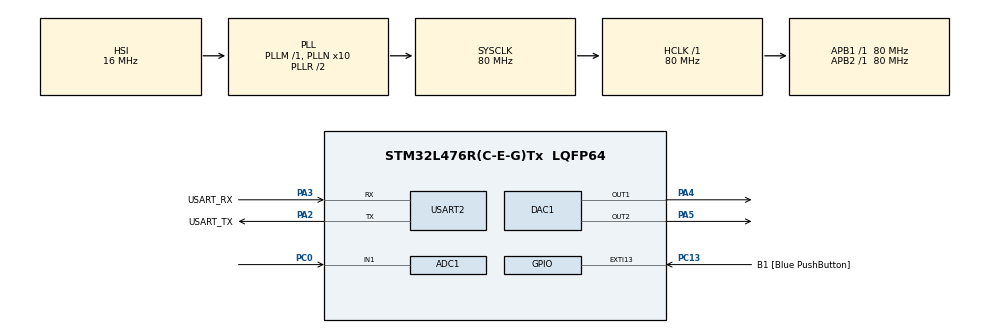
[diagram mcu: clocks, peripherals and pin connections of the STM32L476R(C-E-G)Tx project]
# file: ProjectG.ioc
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ADC1.Channel-0\#ChannelRegularConversion=ADC_CHANNEL_1
ADC1.ClockPrescaler=ADC_CLOCK_ASYNC_DIV1
ADC1.ContinuousConvMode=DISABLE
ADC1.DMAContinuousRequests=DISABLE
ADC1.ExternalTrigConv=ADC_SOFTWARE_START
ADC1.NbrOfConversionFlag=1
ADC1.OffsetNumber-0\#ChannelRegularConversion=ADC_OFFSET_NONE
ADC1.Rank-0\#ChannelRegularConversion=1
ADC1.Resolution=ADC_RESOLUTION_12B
ADC1.SamplingTime-0\#ChannelRegularConversion=ADC_SAMPLETIME_2CYCLES_5
ADC1.master=1
DAC1.DAC_Channel-DAC_OUT2=DAC_CHANNEL_2
DAC1.DAC_Trigger-DAC_OUT1=DAC_TRIGGER_T2_TRGO
DAC1.DAC_Trigger-DAC_OUT2=DAC_TRIGGER_T4_TRGO
Dma.DAC_CH1.0.Direction=DMA_MEMORY_TO_PERIPH
Dma.DAC_CH1.0.Instance=DMA1_Channel3
Dma.DAC_CH1.0.MemDataAlignment=DMA_MDATAALIGN_HALFWORD
Dma.DAC_CH1.0.MemInc=DMA_MINC_ENABLE
Dma.DAC_CH1.0.Mode=DMA_CIRCULAR
Dma.DAC_CH1.0.PeriphDataAlignment=DMA_PDATAALIGN_HALFWORD
Dma.DAC_CH1.0.PeriphInc=DMA_PINC_DISABLE
Dma.DAC_CH1.0.Priority=DMA_PRIORITY_LOW
Dma.DAC_CH2.1.Direction=DMA_MEMORY_TO_PERIPH
Dma.DAC_CH2.1.Instance=DMA1_Channel4
Dma.DAC_CH2.1.MemDataAlignment=DMA_MDATAALIGN_HALFWORD
Dma.DAC_CH2.1.MemInc=DMA_MINC_ENABLE
Dma.DAC_CH2.1.Mode=DMA_CIRCULAR
Dma.DAC_CH2.1.PeriphDataAlignment=DMA_PDATAALIGN_HALFWORD
Dma.DAC_CH2.1.PeriphInc=DMA_PINC_DISABLE
Dma.DAC_CH2.1.Priority=DMA_PRIORITY_LOW
Dma.Request0=DAC_CH1
Dma.Request1=DAC_CH2
Dma.Request2=USART2_RX
Dma.USART2_RX.2.Direction=DMA_PERIPH_TO_MEMORY
Dma.USART2_RX.2.Instance=DMA1_Channel6
Dma.USART2_RX.2.MemDataAlignment=DMA_MDATAALIGN_BYTE
Dma.USART2_RX.2.MemInc=DMA_MINC_ENABLE
Dma.USART2_RX.2.Mode=DMA_CIRCULAR
Dma.USART2_RX.2.PeriphDataAlignment=DMA_PDATAALIGN_BYTE
Dma.USART2_RX.2.PeriphInc=DMA_PINC_DISABLE
Dma.USART2_RX.2.Priority=DMA_PRIORITY_LOW
FREERTOS.INCLUDE_eTaskGetState=1
FREERTOS.INCLUDE_vTaskDelayUntil=1
FREERTOS.INCLUDE_xTaskGetHandle=1
FREERTOS.Tasks01=defaultTask,0,128,StartDefaultTask,Default,NULL,Dynamic,NULL,NULL
FREERTOS.configTOTAL_HEAP_SIZE=20000
FREERTOS.configUSE_NEWLIB_REENTRANT=1
Mcu.Family=STM32L4
Mcu.Name=STM32L476R(C-E-G)Tx
Mcu.Package=LQFP64
NVIC.ADC1_2_IRQn=true\:5\:0\:false\:false\:true\:true\:true\:true\:true
NVIC.DMA1_Channel3_IRQn=true\:5\:0\:false\:false\:true\:true\:false\:true\:true
NVIC.DMA1_Channel4_IRQn=true\:5\:0\:false\:false\:true\:true\:false\:true\:true
NVIC.DMA1_Channel6_IRQn=true\:5\:0\:false\:false\:true\:true\:false\:true\:true
NVIC.PriorityGroup=NVIC_PRIORITYGROUP_4
NVIC.TIM1_UP_TIM16_IRQn=true\:15\:0\:false\:false\:true\:false\:false\:true\:true
NVIC.TIM6_DAC_IRQn=true\:5\:0\:false\:false\:true\:true\:true\:true\:true
NVIC.TimeBase=TIM1_UP_TIM16_IRQn
NVIC.TimeBaseIP=TIM1
PA13\ (JTMS-SWDIO).GPIO_Label=TMS
PA13\ (JTMS-SWDIO).Mode=Serial_Wire
PA13\ (JTMS-SWDIO).Signal=SYS_JTMS-SWDIO
PA14\ (JTCK-SWCLK).GPIO_Label=TCK
PA14\ (JTCK-SWCLK).Mode=Serial_Wire
PA14\ (JTCK-SWCLK).Signal=SYS_JTCK-SWCLK
PA2.GPIO_Label=USART_TX
PA2.GPIO_Mode=GPIO_MODE_AF_PP
PA2.GPIO_PuPd=GPIO_NOPULL
PA2.GPIO_Speed=GPIO_SPEED_FREQ_VERY_HIGH
PA2.Mode=Asynchronous
PA2.Signal=USART2_TX
PA3.GPIO_Label=USART_RX
PA3.GPIO_Mode=GPIO_MODE_AF_PP
PA3.GPIO_PuPd=GPIO_NOPULL
PA3.GPIO_Speed=GPIO_SPEED_FREQ_VERY_HIGH
PA3.Mode=Asynchronous
PA3.Signal=USART2_RX
PA4.Signal=COMP_DAC11_group
PA5.Signal=COMP_DAC12_group
PB3\ (JTDO-TRACESWO).GPIO_Label=SWO
PB3\ (JTDO-TRACESWO).Signal=SYS_JTDO-SWO
PC0.Signal=ADCx_IN1
PC13.GPIO_Label=B1 [Blue PushButton]
PC13.GPIO_ModeDefaultEXTI=GPIO_MODE_IT_FALLING
PC13.GPIO_PuPd=GPIO_NOPULL
PC13.Signal=GPXTI13
PC14-OSC32_IN\ (PC14).Mode=LSE-External-Oscillator
PC14-OSC32_IN\ (PC14).Signal=RCC_OSC32_IN
PC15-OSC32_OUT\ (PC15).Mode=LSE-External-Oscillator
PC15-OSC32_OUT\ (PC15).Signal=RCC_OSC32_OUT
PH0-OSC_IN\ (PH0).Signal=RCC_OSC_IN
PH1-OSC_OUT\ (PH1).Signal=RCC_OSC_OUT
ProjectManager.HeapSize=0x200
ProjectManager.StackSize=0x400
ProjectManager.TargetToolchain=STM32CubeIDE
RCC.ADCFreq_Value=64000000
RCC.AHBFreq_Value=80000000
RCC.APB1Freq_Value=80000000
RCC.APB1TimFreq_Value=80000000
RCC.APB2Freq_Value=80000000
RCC.APB2TimFreq_Value=80000000
RCC.CortexFreq_Value=80000000
RCC.HCLKFreq_Value=80000000
RCC.HSE_VALUE=8000000
RCC.HSI_VALUE=16000000
RCC.MSI_VALUE=4000000
RCC.PLLN=10
RCC.PLLSourceVirtual=RCC_PLLSOURCE_HSI
RCC.PREFETCH_ENABLE=1
RCC.SYSCLKFreq_VALUE=80000000
RCC.SYSCLKSource=RCC_SYSCLKSOURCE_PLLCLK
RCC.USBFreq_Value=64000000
RCC.VCOOutputFreq_Value=160000000
SH.ADCx_IN1.0=ADC1_IN1,IN1-Single-Ended
SH.COMP_DAC11_group.0=DAC1_OUT1,DAC_OUT1
SH.COMP_DAC12_group.0=DAC1_OUT2,DAC_OUT2
TIM2.AutoReloadPreload=TIM_AUTORELOAD_PRELOAD_ENABLE
TIM2.Period=8000 - 1
TIM2.Prescaler=0
TIM2.TIM_MasterOutputTrigger=TIM_TRGO_UPDATE
TIM4.AutoReloadPreload=TIM_AUTORELOAD_PRELOAD_ENABLE
TIM4.Period=8000 - 1
TIM4.Prescaler=0
TIM4.TIM_MasterOutputTrigger=TIM_TRGO_UPDATE
TIM6.Period=8 - 1
TIM6.Prescaler=1000 - 1
USART2.VirtualMode-Asynchronous=VM_ASYNC
VP_FREERTOS_VS_CMSIS_V1.Mode=CMSIS_V1
VP_SYS_VS_tim1.Mode=TIM1
VP_TIM2_VS_ClockSourceINT.Mode=Internal
VP_TIM4_VS_ClockSourceINT.Mode=Internal
VP_TIM6_VS_ClockSourceINT.Mode=Enable_Timer
board=NUCLEO-L476RG

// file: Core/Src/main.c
/* USER CODE BEGIN Header */
/**
  ******************************************************************************
  * @file           : main.c
  * @brief          : Main program body
  ******************************************************************************
  * @attention
  *
  * Copyright (c) 2022 STMicroelectronics.
  * All rights reserved.
  *
  * This software is licensed under terms that can be found in the LICENSE file
  * in the root directory of this software component.
  * If no LICENSE file comes with this software, it is provided AS-IS.
  *
  ******************************************************************************
  */
/* USER CODE END Header */
#include "main.h"
#include "cmsis_os.h"

/* USER CODE BEGIN Includes */
#include "FreeRTOS.h"
#include "timers.h"
#include "queue.h"
#include "semphr.h"
#include "event_groups.h"
#include "task.h"

#include <stdlib.h>
#include <stdio.h>

#include "globals.h"
#include "uart.h"
#include "dac.h"
/* USER CODE END Includes */

/* USER CODE BEGIN PM */
#define SR 20000
/* USER CODE END PM */

ADC_HandleTypeDef hadc1;

DAC_HandleTypeDef hdac1;
DMA_HandleTypeDef hdma_dac_ch1;
DMA_HandleTypeDef hdma_dac_ch2;

TIM_HandleTypeDef htim2;
TIM_HandleTypeDef htim4;
TIM_HandleTypeDef htim6;

UART_HandleTypeDef huart2;
DMA_HandleTypeDef hdma_usart2_rx;

osThreadId defaultTaskHandle;
/* USER CODE BEGIN PV */
TaskHandle_t rdr;
TaskHandle_t dac;
QueueHandle_t mbx;

int idx = 0;
double sum = 0;
int mindx = 0;
int maxdx = 0;
extern sig_t newSig;
uint16_t RRM[SR] = {0};
/* USER CODE END PV */

void SystemClock_Config(void);
static void MX_GPIO_Init(void);
static void MX_DMA_Init(void);
static void MX_USART2_UART_Init(void);
static void MX_ADC1_Init(void);
static void MX_TIM6_Init(void);
static void MX_DAC1_Init(void);
static void MX_TIM2_Init(void);
static void MX_TIM4_Init(void);
void StartDefaultTask(void const * argument);

int main(void)
{

  /* MCU Configuration--------------------------------------------------------*/

  /* Reset of all peripherals, Initializes the Flash interface and the Systick. */
  HAL_Init();

  /* Configure the system clock */
  SystemClock_Config();

  /* Initialize all configured peripherals */
  MX_GPIO_Init();
  MX_DMA_Init();
  MX_USART2_UART_Init();
  MX_ADC1_Init();
  MX_TIM6_Init();
  MX_DAC1_Init();
  MX_TIM2_Init();
  MX_TIM4_Init();

  /* USER CODE BEGIN RTOS_QUEUES */
  mbx = xQueueCreate(1, sizeof(sig_t));
  if(!mbx)
  {
	  printf("Could not build mailbox\n\r");
	  exit(1);
  }
  /* USER CODE END RTOS_QUEUES */

  /* USER CODE BEGIN RTOS_THREADS */
  xTaskCreate(read_Task, "rdr", 1024, NULL, PriorityHigh, &rdr);
  xTaskCreate(dac_Task, "dac", 512, NULL, PriorityNormal, &dac);
  /* USER CODE END RTOS_THREADS */

  /* We should never get here as control is now taken by the scheduler */
  /* Infinite loop */
  /* USER CODE BEGIN WHILE */
  vTaskStartScheduler();

  while (1)
  {
    /* USER CODE END WHILE */

  }
}

void SystemClock_Config(void)
{
  RCC_OscInitTypeDef RCC_OscInitStruct = {0};
  RCC_ClkInitTypeDef RCC_ClkInitStruct = {0};

  /** Configure the main internal regulator output voltage
  */
  if (HAL_PWREx_ControlVoltageScaling(PWR_REGULATOR_VOLTAGE_SCALE1) != HAL_OK)
  {
    Error_Handler();
  }

  /** Initializes the RCC Oscillators according to the specified parameters
  * in the RCC_OscInitTypeDef structure.
  */
  RCC_OscInitStruct.OscillatorType = RCC_OSCILLATORTYPE_HSI;
  RCC_OscInitStruct.HSIState = RCC_HSI_ON;
  RCC_OscInitStruct.HSICalibrationValue = RCC_HSICALIBRATION_DEFAULT;
  RCC_OscInitStruct.PLL.PLLState = RCC_PLL_ON;
  RCC_OscInitStruct.PLL.PLLSource = RCC_PLLSOURCE_HSI;
  RCC_OscInitStruct.PLL.PLLM = 1;
  RCC_OscInitStruct.PLL.PLLN = 10;
  RCC_OscInitStruct.PLL.PLLP = RCC_PLLP_DIV7;
  RCC_OscInitStruct.PLL.PLLQ = RCC_PLLQ_DIV2;
  RCC_OscInitStruct.PLL.PLLR = RCC_PLLR_DIV2;
  if (HAL_RCC_OscConfig(&RCC_OscInitStruct) != HAL_OK)
  {
    Error_Handler();
  }

  /** Initializes the CPU, AHB and APB buses clocks
  */
  RCC_ClkInitStruct.ClockType = RCC_CLOCKTYPE_HCLK|RCC_CLOCKTYPE_SYSCLK
                              |RCC_CLOCKTYPE_PCLK1|RCC_CLOCKTYPE_PCLK2;
  RCC_ClkInitStruct.SYSCLKSource = RCC_SYSCLKSOURCE_PLLCLK;
  RCC_ClkInitStruct.AHBCLKDivider = RCC_SYSCLK_DIV1;
  RCC_ClkInitStruct.APB1CLKDivider = RCC_HCLK_DIV1;
  RCC_ClkInitStruct.APB2CLKDivider = RCC_HCLK_DIV1;

  if (HAL_RCC_ClockConfig(&RCC_ClkInitStruct, FLASH_LATENCY_4) != HAL_OK)
  {
    Error_Handler();
  }
}

static void MX_ADC1_Init(void)
{

  ADC_MultiModeTypeDef multimode = {0};
  ADC_ChannelConfTypeDef sConfig = {0};

  /** Common config
  */
  hadc1.Instance = ADC1;
  hadc1.Init.ClockPrescaler = ADC_CLOCK_ASYNC_DIV1;
  hadc1.Init.Resolution = ADC_RESOLUTION_12B;
  hadc1.Init.DataAlign = ADC_DATAALIGN_RIGHT;
  hadc1.Init.ScanConvMode = ADC_SCAN_DISABLE;
  hadc1.Init.EOCSelection = ADC_EOC_SINGLE_CONV;
  hadc1.Init.LowPowerAutoWait = DISABLE;
  hadc1.Init.ContinuousConvMode = DISABLE;
  hadc1.Init.NbrOfConversion = 1;
  hadc1.Init.DiscontinuousConvMode = DISABLE;
  hadc1.Init.ExternalTrigConv = ADC_SOFTWARE_START;
  hadc1.Init.ExternalTrigConvEdge = ADC_EXTERNALTRIGCONVEDGE_NONE;
  hadc1.Init.DMAContinuousRequests = DISABLE;
  hadc1.Init.Overrun = ADC_OVR_DATA_PRESERVED;
  hadc1.Init.OversamplingMode = DISABLE;
  if (HAL_ADC_Init(&hadc1) != HAL_OK)
  {
    Error_Handler();
  }

  /** Configure the ADC multi-mode
  */
  multimode.Mode = ADC_MODE_INDEPENDENT;
  if (HAL_ADCEx_MultiModeConfigChannel(&hadc1, &multimode) != HAL_OK)
  {
    Error_Handler();
  }

  /** Configure Regular Channel
  */
  sConfig.Channel = ADC_CHANNEL_1;
  sConfig.Rank = ADC_REGULAR_RANK_1;
  sConfig.SamplingTime = ADC_SAMPLETIME_2CYCLES_5;
  sConfig.SingleDiff = ADC_SINGLE_ENDED;
  sConfig.OffsetNumber = ADC_OFFSET_NONE;
  sConfig.Offset = 0;
  if (HAL_ADC_ConfigChannel(&hadc1, &sConfig) != HAL_OK)
  {
    Error_Handler();
  }

}

static void MX_DAC1_Init(void)
{

  DAC_ChannelConfTypeDef sConfig = {0};

  /** DAC Initialization
  */
  hdac1.Instance = DAC1;
  if (HAL_DAC_Init(&hdac1) != HAL_OK)
  {
    Error_Handler();
  }

  /** DAC channel OUT1 config
  */
  sConfig.DAC_SampleAndHold = DAC_SAMPLEANDHOLD_DISABLE;
  sConfig.DAC_Trigger = DAC_TRIGGER_T2_TRGO;
  sConfig.DAC_OutputBuffer = DAC_OUTPUTBUFFER_ENABLE;
  sConfig.DAC_ConnectOnChipPeripheral = DAC_CHIPCONNECT_DISABLE;
  sConfig.DAC_UserTrimming = DAC_TRIMMING_FACTORY;
  if (HAL_DAC_ConfigChannel(&hdac1, &sConfig, DAC_CHANNEL_1) != HAL_OK)
  {
    Error_Handler();
  }

  /** DAC channel OUT2 config
  */
  sConfig.DAC_Trigger = DAC_TRIGGER_T4_TRGO;
  if (HAL_DAC_ConfigChannel(&hdac1, &sConfig, DAC_CHANNEL_2) != HAL_OK)
  {
    Error_Handler();
  }

}

static void MX_TIM2_Init(void)
{

  TIM_ClockConfigTypeDef sClockSourceConfig = {0};
  TIM_MasterConfigTypeDef sMasterConfig = {0};

  htim2.Instance = TIM2;
  htim2.Init.Prescaler = 1000 - 1;
  htim2.Init.CounterMode = TIM_COUNTERMODE_UP;
  htim2.Init.Period = 8 - 1;
  htim2.Init.ClockDivision = TIM_CLOCKDIVISION_DIV1;
  htim2.Init.AutoReloadPreload = TIM_AUTORELOAD_PRELOAD_ENABLE;
  if (HAL_TIM_Base_Init(&htim2) != HAL_OK)
  {
    Error_Handler();
  }
  sClockSourceConfig.ClockSource = TIM_CLOCKSOURCE_INTERNAL;
  if (HAL_TIM_ConfigClockSource(&htim2, &sClockSourceConfig) != HAL_OK)
  {
    Error_Handler();
  }
  sMasterConfig.MasterOutputTrigger = TIM_TRGO_UPDATE;
  sMasterConfig.MasterSlaveMode = TIM_MASTERSLAVEMODE_DISABLE;
  if (HAL_TIMEx_MasterConfigSynchronization(&htim2, &sMasterConfig) != HAL_OK)
  {
    Error_Handler();
  }

}

static void MX_TIM4_Init(void)
{

  TIM_ClockConfigTypeDef sClockSourceConfig = {0};
  TIM_MasterConfigTypeDef sMasterConfig = {0};

  htim4.Instance = TIM4;
  htim4.Init.Prescaler = 1000 - 1;
  htim4.Init.CounterMode = TIM_COUNTERMODE_UP;
  htim4.Init.Period = 8 - 1;
  htim4.Init.ClockDivision = TIM_CLOCKDIVISION_DIV1;
  htim4.Init.AutoReloadPreload = TIM_AUTORELOAD_PRELOAD_ENABLE;
  if (HAL_TIM_Base_Init(&htim4) != HAL_OK)
  {
    Error_Handler();
  }
  sClockSourceConfig.ClockSource = TIM_CLOCKSOURCE_INTERNAL;
  if (HAL_TIM_ConfigClockSource(&htim4, &sClockSourceConfig) != HAL_OK)
  {
    Error_Handler();
  }
  sMasterConfig.MasterOutputTrigger = TIM_TRGO_UPDATE;
  sMasterConfig.MasterSlaveMode = TIM_MASTERSLAVEMODE_DISABLE;
  if (HAL_TIMEx_MasterConfigSynchronization(&htim4, &sMasterConfig) != HAL_OK)
  {
    Error_Handler();
  }

}

static void MX_TIM6_Init(void)
{

  TIM_MasterConfigTypeDef sMasterConfig = {0};

  htim6.Instance = TIM6;
  htim6.Init.Prescaler = 1000 - 1;
  htim6.Init.CounterMode = TIM_COUNTERMODE_UP;
  htim6.Init.Period = 8 - 1;
  htim6.Init.AutoReloadPreload = TIM_AUTORELOAD_PRELOAD_DISABLE;
  if (HAL_TIM_Base_Init(&htim6) != HAL_OK)
  {
    Error_Handler();
  }
  sMasterConfig.MasterOutputTrigger = TIM_TRGO_RESET;
  sMasterConfig.MasterSlaveMode = TIM_MASTERSLAVEMODE_DISABLE;
  if (HAL_TIMEx_MasterConfigSynchronization(&htim6, &sMasterConfig) != HAL_OK)
  {
    Error_Handler();
  }

}

static void MX_USART2_UART_Init(void)
{

  huart2.Instance = USART2;
  huart2.Init.BaudRate = 115200;
  huart2.Init.WordLength = UART_WORDLENGTH_8B;
  huart2.Init.StopBits = UART_STOPBITS_1;
  huart2.Init.Parity = UART_PARITY_NONE;
  huart2.Init.Mode = UART_MODE_TX_RX;
  huart2.Init.HwFlowCtl = UART_HWCONTROL_NONE;
  huart2.Init.OverSampling = UART_OVERSAMPLING_16;
  huart2.Init.OneBitSampling = UART_ONE_BIT_SAMPLE_DISABLE;
  huart2.AdvancedInit.AdvFeatureInit = UART_ADVFEATURE_NO_INIT;
  if (HAL_UART_Init(&huart2) != HAL_OK)
  {
    Error_Handler();
  }

}

static void MX_DMA_Init(void)
{

  /* DMA controller clock enable */
  __HAL_RCC_DMA1_CLK_ENABLE();

  /* DMA interrupt init */
  /* DMA1_Channel3_IRQn interrupt configuration */
  HAL_NVIC_SetPriority(DMA1_Channel3_IRQn, 5, 0);
  HAL_NVIC_EnableIRQ(DMA1_Channel3_IRQn);
  /* DMA1_Channel4_IRQn interrupt configuration */
  HAL_NVIC_SetPriority(DMA1_Channel4_IRQn, 5, 0);
  HAL_NVIC_EnableIRQ(DMA1_Channel4_IRQn);
  /* DMA1_Channel6_IRQn interrupt configuration */
  HAL_NVIC_SetPriority(DMA1_Channel6_IRQn, 5, 0);
  HAL_NVIC_EnableIRQ(DMA1_Channel6_IRQn);

}

static void MX_GPIO_Init(void)
{
  GPIO_InitTypeDef GPIO_InitStruct = {0};

  /* GPIO Ports Clock Enable */
  __HAL_RCC_GPIOC_CLK_ENABLE();
  __HAL_RCC_GPIOH_CLK_ENABLE();
  __HAL_RCC_GPIOA_CLK_ENABLE();
  __HAL_RCC_GPIOB_CLK_ENABLE();

  /*Configure GPIO pin : B1_Pin */
  GPIO_InitStruct.Pin = B1_Pin;
  GPIO_InitStruct.Mode = GPIO_MODE_IT_FALLING;
  GPIO_InitStruct.Pull = GPIO_NOPULL;
  HAL_GPIO_Init(B1_GPIO_Port, &GPIO_InitStruct);

}

void StartDefaultTask(void const * argument)
{
  for(;;)
  {
    osDelay(1);
  }
}

void HAL_TIM_PeriodElapsedCallback(TIM_HandleTypeDef *htim)
{
  if (htim->Instance == TIM1) {
    HAL_IncTick();
  }
  /* USER CODE BEGIN Callback 1 */
  if(htim->Instance == TIM6)
  {
	  if(!full)
	  {
		  HAL_ADC_Start(&hadc1);
		  HAL_ADC_PollForConversion(&hadc1, 1);
		  RRM[idx] = HAL_ADC_GetValue(&hadc1);
		  sum += RRM[idx];
		  if(newSig.min > RRM[idx])
		  {
			  newSig.min = RRM[idx];
			  mindx = idx;
		  }
		  if(newSig.max < RRM[idx])
		  {
			  newSig.max = RRM[idx];
			  maxdx = idx;
		  }
		  idx++;
		  if(idx == 20000)
		  {
			  full = 1;
			  idx = 0;
		  }
	  }
  }
  /* USER CODE END Callback 1 */
}

void Error_Handler(void)
{
  __disable_irq();
  while (1)
  {
  }
}
